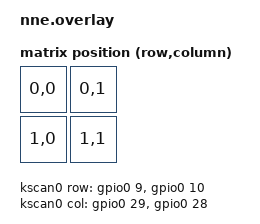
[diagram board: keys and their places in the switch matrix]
/*
 */
 
 #include <dt-bindings/zmk/matrix_transform.h>

/ {
    chosen {
        zmk,kscan = &kscan0;
        zmk,matrix_transform = &default_transform;
	/delete-property/ zephyr,console;
	/delete-property/ zephyr,shell-uart;
    };

    kscan0: kscan_0 {
        compatible = "zmk,kscan-gpio-matrix";
        label = "KSCAN";
        diode-direction = "col2row";

        col-gpios
            = <&gpio0 29 GPIO_ACTIVE_HIGH>
            , <&gpio0 28 GPIO_ACTIVE_HIGH>

            ;

        row-gpios
            = <&gpio0 9 (GPIO_ACTIVE_HIGH | GPIO_PULL_DOWN)>
            , <&gpio0 10 (GPIO_ACTIVE_HIGH | GPIO_PULL_DOWN)>
            ;
    };

    default_transform: keymap_transform_0 {
        compatible = "zmk,matrix-transform";
        columns = <2>;
        rows = <2>;
        map = <
            RC(0,0) RC(0,1)
            RC(1,0) RC(1,1)
        >;
    };

};

